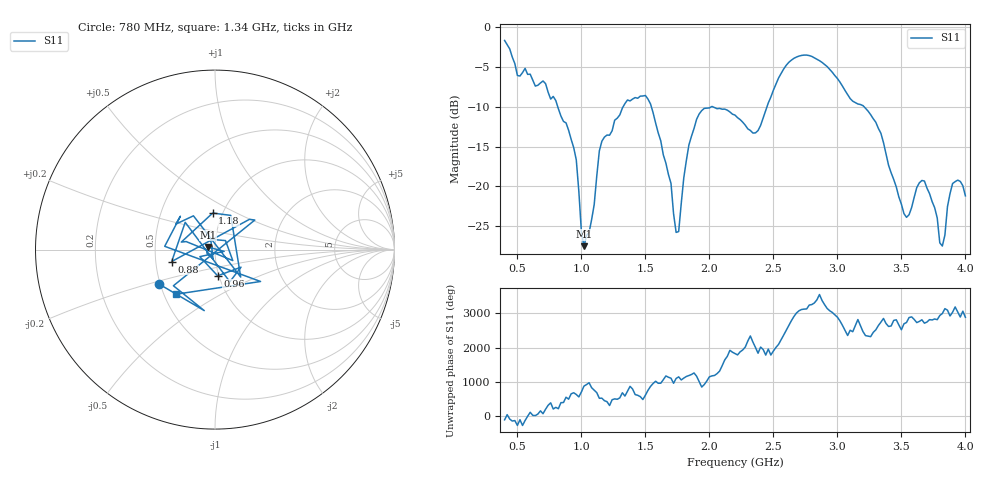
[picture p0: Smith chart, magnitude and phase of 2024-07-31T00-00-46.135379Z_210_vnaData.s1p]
!Created with skrf (http://scikit-rf.org).
# Hz S RI R 50.0
!freq ReS11 ImS11
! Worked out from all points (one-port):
!   181 points, 400 MHz to 4 GHz, reference 50 ohm
!   lowest |S11| = -27.5 dB at 1.02 GHz (marker M1), VSWR 1.09, Z = 46.2 + j1.33 ohm
!   |S11| at or under -10 dB: 815 MHz to 1.326 GHz (511.3 MHz wide, 47.8 % of centre); 1.546 GHz to 2.017 GHz (470.4 MHz wide, 26.4 % of centre); 3.208 GHz to end of sweep (the widest 3 of 4)
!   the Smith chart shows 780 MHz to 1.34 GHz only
!   S11 on the Smith chart (normalised r, x): 780 MHz: 0.49, -0.22; 880 MHz: 0.61, -0.09; 960 MHz: 0.99, -0.29; 1.18 GHz: 0.90, +0.38; 1.34 GHz: 0.58, -0.32
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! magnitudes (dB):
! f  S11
! 400 MHz  -1.7
! 500 MHz  -6.1
! 780 MHz  -8.7
! 860 MHz  -11.8
! 880 MHz  -12.0
! 960 MHz  -16.7
! 1 GHz  -25.7
! 1.02 GHz  -27.5
! 1.08 GHz  -24.1
! 1.14 GHz  -15.6
! 1.18 GHz  -13.8
! 1.3 GHz  -11.0
! 1.34 GHz  -9.6
! 1.54 GHz  -9.7
! 1.76 GHz  -25.7
! 1.84 GHz  -14.8
! 1.92 GHz  -10.9
! 2.2 GHz  -11.1
! 2.38 GHz  -13.0
! 2.66 GHz  -3.9
! 2.88 GHz  -4.4
! 3.1 GHz  -9.0
! 3.3 GHz  -11.9
! 3.56 GHz  -23.5
! 3.68 GHz  -19.3
! 3.82 GHz  -27.5
! 3.9 GHz  -19.6
! 4 GHz  -21.2
